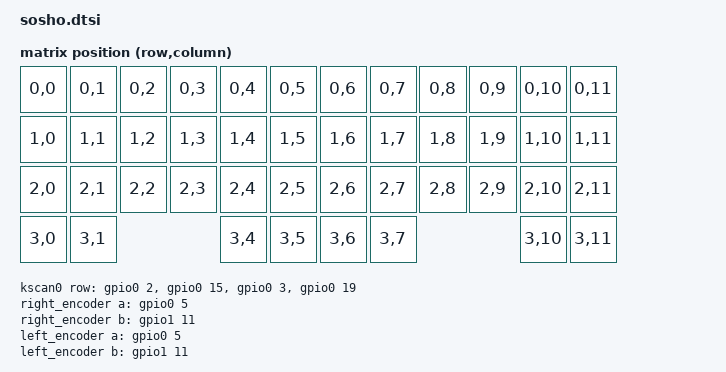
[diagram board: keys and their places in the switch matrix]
#include <dt-bindings/zmk/matrix_transform.h>
#include <dt-bindings/zmk/behaviors.h>
#include <zephyr/dt-bindings/input/input-event-codes.h>
#include "sosho-layouts.dtsi"

&physical_layout0 {
    transform = <&default_transform>;
};

/*&uart0 { status = "disabled"; };*/
&i2c0  { status = "disabled"; };
&i2c1  { status = "disabled"; };

/ {
	/* キー入力に関する設定 */
    chosen {
        zmk,kscan = &kscan0;
        zmk,physical-layout = &physical_layout0;
    };

    default_transform: keymap_transform_0 {
        compatible = "zmk,matrix-transform";
        columns = <12>;
        rows = <4>;
        map = <
            RC(0,0) RC(0,1) RC(0,2) RC(0,3) RC(0,4) RC(0,5)     RC(0,6) RC(0,7) RC(0,8) RC(0,9) RC(0,10) RC(0,11)
            RC(1,0) RC(1,1) RC(1,2) RC(1,3) RC(1,4) RC(1,5)     RC(1,6) RC(1,7) RC(1,8) RC(1,9) RC(1,10) RC(1,11)
            RC(2,0) RC(2,1) RC(2,2) RC(2,3) RC(2,4) RC(2,5)     RC(2,6) RC(2,7) RC(2,8) RC(2,9) RC(2,10) RC(2,11)
            RC(3,0) RC(3,1)                 RC(3,4) RC(3,5)     RC(3,6) RC(3,7)                 RC(3,10) RC(3,11)
        >;
    };

    kscan0: kscan {
        compatible = "zmk,kscan-gpio-matrix";
        wakeup-source;
        diode-direction = "col2row";
        row-gpios
            = <&gpio0 2 (GPIO_ACTIVE_HIGH | GPIO_PULL_DOWN)>
            , <&gpio0 15 (GPIO_ACTIVE_HIGH | GPIO_PULL_DOWN)>
            , <&gpio0 3 (GPIO_ACTIVE_HIGH | GPIO_PULL_DOWN)>
            , <&gpio0 19 (GPIO_ACTIVE_HIGH | GPIO_PULL_DOWN)>
            ;
    };

	/* エンコーダに関する設定 */
    right_encoder: encoder_right {
        compatible = "alps,ec11";
        a-gpios = <&gpio0 5 (GPIO_ACTIVE_LOW | GPIO_PULL_UP)>;
        b-gpios = <&gpio1 11 (GPIO_ACTIVE_LOW | GPIO_PULL_UP)>;
        steps = <96>;
        resolution = <4>;
        status = "disabled";
    };

    left_encoder: encoder_left {
        compatible = "alps,ec11";
        a-gpios = <&gpio0 5 (GPIO_ACTIVE_LOW | GPIO_PULL_UP)>;
        b-gpios = <&gpio1 11 (GPIO_ACTIVE_LOW | GPIO_PULL_UP)>;
        steps = <96>;
        resolution = <4>;
        status = "disabled";
    };

    sensors: sensors {
        compatible = "zmk,keymap-sensors";
        sensors = <&left_encoder &right_encoder>;
        triggers-per-rotation = <24>;
    };

	/* L側のspi入力 */
    split_inputs {
        #address-cells = <1>;
        #size-cells = <0>;

        glidepoint_split: glidepoint_split@0 {
            compatible = "zmk,input-split";
            reg = <0>;
			status = "disabled";
        };

        trackball_split: trackball_split@1 {
            compatible = "zmk,input-split";
            reg = <1>;
			status = "disabled";
        };
    };

	/* spiをinputとして受け取るところ */
    glidepoint_split_listener: glidepoint_split_listener {
        compatible = "zmk,input-listener";
        status = "disabled";
		device = <&glidepoint_split>;
    };

    glidepoint_listener: glidepoint_listener {
        compatible = "zmk,input-listener";
        status = "disabled";
        device = <&glidepoint>;
    };

    trackball_listener: trackball_listener {
        compatible = "zmk,input-listener";
        status = "disabled";
        device = <&trackball>;
    };

    trackball_split_listener: trackball_split_listener {
        compatible = "zmk,input-listener";
        status = "disabled";
		device = <&trackball_split>;
    };

	/* zmk-rgbled-widgetのおまじない */
    aliases {
        led-red = &led0;
        led-green = &led1;
        led-blue = &led2;
    };

    leds {
        status = "okay";
    };
};

&pinctrl {
    /* トラックパッドの配線設定 */
    spi0_default: spi0_default {
        group1 {
            psels = <NRF_PSEL(SPIM_SCK, 1, 13)>,
                    <NRF_PSEL(SPIM_MOSI, 1, 15)>,
                    <NRF_PSEL(SPIM_MISO, 1, 14)>;
        };
    };
    spi0_sleep: spi0_sleep {
        group1 {
            psels = <NRF_PSEL(SPIM_SCK, 1, 13)>,
                    <NRF_PSEL(SPIM_MOSI, 1, 15)>,
                    <NRF_PSEL(SPIM_MISO, 1, 14)>;
            low-power-enable;
        };
    };
    /* トラックボールの配線設定 */
    spi1_default: spi1_default {
        group1 {
            psels = <NRF_PSEL(SPIM_SCK, 1, 13)>,
                    <NRF_PSEL(SPIM_MOSI, 1, 14)>,
                    <NRF_PSEL(SPIM_MISO, 1, 14)>;
        };
    };
    spi1_sleep: spi1_sleep {
        group1 {
            psels = <NRF_PSEL(SPIM_SCK, 1, 13)>,
                    <NRF_PSEL(SPIM_MOSI, 1, 14)>,
                    <NRF_PSEL(SPIM_MISO, 1, 14)>;
            low-power-enable;
        };
    };
};


/* トラックパッドの配線設定 */
&spi0 {
    status = "disabled";
    compatible = "nordic,nrf-spim";
    pinctrl-0 = <&spi0_default>;
    pinctrl-1 = <&spi0_sleep>;
    pinctrl-names = "default", "sleep";
    cs-gpios = <&gpio1 5 GPIO_ACTIVE_LOW>;
    glidepoint: glidepoint@0 {
        status = "disabled";
        compatible = "cirque,pinnacle";
        reg = <0>;
        spi-max-frequency = <500000>;
        data-ready-gpios = <&gpio1 7 (GPIO_ACTIVE_HIGH)>;
        /* Setting a higher sensitivity causes issues on bluetooth */
        sensitivity = "1x";
    };
};

/* トラックボールの配線設定 */
#include <zephyr/dt-bindings/input/input-event-codes.h>
&spi1 {
    status = "disabled";
    compatible = "nordic,nrf-spim";
    pinctrl-0 = <&spi1_default>;
    pinctrl-1 = <&spi1_sleep>;
    pinctrl-names = "default", "sleep";
    cs-gpios = <&gpio1 3 GPIO_ACTIVE_LOW>; // nCS

    trackball: trackball@0 {
        status = "disabled";
        compatible = "pixart,pmw3610-alt";
        reg = <0>;
        spi-max-frequency = <2000000>;
        irq-gpios = <&gpio1 7 (GPIO_ACTIVE_HIGH)>;      // Sample-LOW PRODUCT-HIGH
        cpi = <600>;
        evt-type = <INPUT_EV_REL>;
        x-input-code = <INPUT_REL_Y>;
        y-input-code = <INPUT_REL_X>;
    };
};
